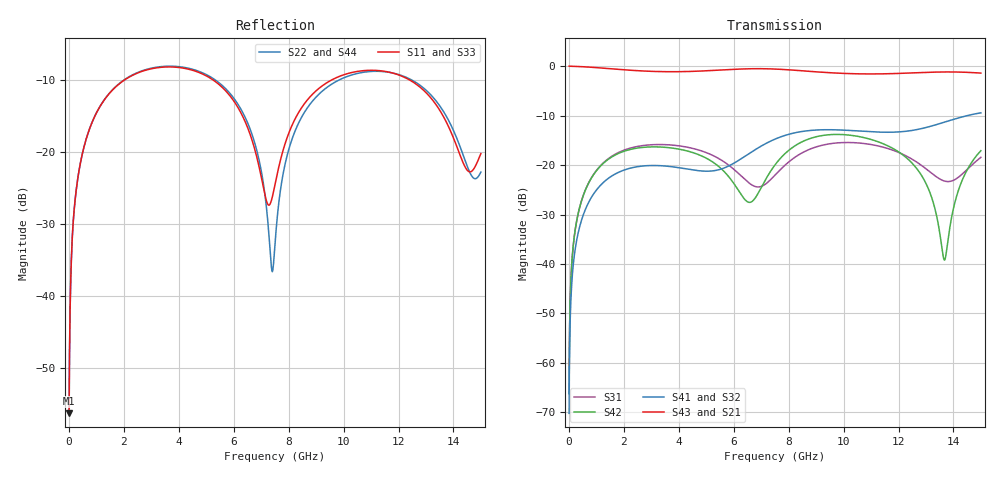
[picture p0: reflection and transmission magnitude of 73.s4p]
! Created with skrf 1.8.0 (http://scikit-rf.org).
# GHz S RI R 50.0
!freq ReS11 ImS11 ReS12 ImS12 ReS13 ImS13
! ReS14 ImS14
! ReS21 ImS21 ReS22 ImS22 ReS23 ImS23
! ReS24 ImS24
! ReS31 ImS31 ReS32 ImS32 ReS33 ImS33
! ReS34 ImS34
! ReS41 ImS41 ReS42 ImS42 ReS43 ImS43
! ReS44 ImS44
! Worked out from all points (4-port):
!   2499 points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, 5 MHz to 15 GHz, reference 50 ohm
!   strongest paths, dB at 5 MHz, 3.476 GHz, 7.19 GHz, 11.1 GHz, 15 GHz:
!     S43: 0.0, -1.1, -0.5, -1.6, -1.4
!     S21: 0.0, -1.1, -0.5, -1.6, -1.4
!     S41: -70.2, -20.2, -15.6, -13.3, -9.4
!     S32: -70.2, -20.3, -15.6, -13.4, -9.4
!     S42: -66.2, -16.4, -22.6, -15.0, -17.1
!     S31: -66.2, -15.9, -23.7, -16.0, -18.4
!   lowest |S11| = -56.2 dB at 5 MHz (marker M1), VSWR 1.00, Z = 50.1 + j0.0936 ohm
!   |S11| at or under -10 dB: start of sweep to 1.998 GHz; 5.27 GHz to 9.535 GHz (4.264 GHz wide, 57.6 % of centre); 12.43 GHz to end of sweep
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0.005  0.00123 0.000934  0.9987 -0.00239  6.06e-05 0.000486  -5.88e-05 -0.000304
       0.9987 -0.00239  0.00123 0.000934  -5.88e-05 -0.000304  6.05e-05 0.000486
       6.06e-05 0.000486  -5.88e-05 -0.000304  0.00123 0.000934  0.9987 -0.00239
       -5.88e-05 -0.000304  6.05e-05 0.000486  0.9987 -0.00239  0.00123 0.000934
0.4126719  0.0224 0.0807  0.969 -0.1959  0.0111 0.038  -0.00879 -0.0236
           0.969 -0.1959  0.0225 0.0807  -0.00877 -0.0236  0.0101 0.0382
           0.0111 0.038  -0.00877 -0.0236  0.0224 0.0807  0.969 -0.1959
           -0.00879 -0.0236  0.0101 0.0382  0.969 -0.1959  0.0225 0.0807
2.175907  0.2821 0.1755  0.5173 -0.7496  0.1389 0.0474  -0.0921 -0.00057
          0.5173 -0.7496  0.2866 0.1722  -0.0918 -0.000936  0.1263 0.066
          0.1389 0.0474  -0.0918 -0.000936  0.2822 0.1753  0.5174 -0.7496
          -0.0921 -0.00057  0.1263 0.066  0.5174 -0.7496  0.2863 0.1724
7.315548  0.0433 0.00458  -0.9359 -0.0628  -0.0491 0.05  -0.00496 0.173
          -0.9359 -0.0628  0.0142 -0.0166  -0.0108 0.1727  0.0554 0.0635
          -0.0491 0.05  -0.0108 0.1727  0.0419 0.00667  -0.936 -0.0625
          -0.00496 0.173  0.0554 0.0635  -0.936 -0.0625  0.0148 -0.015
11.62359  0.3538 -0.0763  0.0938 0.8325  0.1126 -0.0939  0.1963 -0.0867
          0.0938 0.8325  0.3556 -0.0608  0.1977 -0.0737  0.1214 -0.0976
          0.1126 -0.0939  0.1977 -0.0737  0.3559 -0.0792  0.0924 0.8324
          0.1963 -0.0867  0.1214 -0.0976  0.0924 0.8324  0.3548 -0.0567
13.67445  0.1212 -0.1221  0.7219 0.4903  -0.0616 -0.0309  0.1394 -0.2329
          0.7219 0.4903  0.1269 -0.138  0.1556 -0.2224  -0.0109 -0.00108
          -0.0616 -0.0309  0.1556 -0.2224  0.1168 -0.1238  0.721 0.4921
          0.1394 -0.2329  -0.0109 -0.00108  0.721 0.4921  0.1301 -0.135
15  0.0868 0.0459  0.8503 0.00131  -0.0134 0.119  -0.0249 -0.3362
    0.8503 0.00131  0.0706 0.0186  -0.00254 -0.337  0.0675 0.1222
    -0.0134 0.119  -0.00254 -0.337  0.0832 0.0511  0.8503 0.00349
    -0.0249 -0.3362  0.0675 0.1222  0.8503 0.00349  0.0721 0.0177
